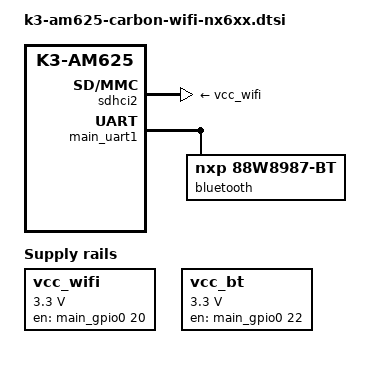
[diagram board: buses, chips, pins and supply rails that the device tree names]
// SPDX-License-Identifier: (GPL-2.0+ OR MIT)
/*
 * Copyright 2024 Ezurio
 */

#include "k3-am625-carbon-wifi.dtsi"

/ {
	vcc_wifi: regulator-wifi {
		compatible = "regulator-fixed";
		regulator-name = "vcc_wifi";
		regulator-min-microvolt = <3300000>;
		regulator-max-microvolt = <3300000>;

		pinctrl-names = "default";
		pinctrl-0 = <&main_wifi_en_default>;
		gpios = <&main_gpio0 20 GPIO_ACTIVE_HIGH>; /* W_DISABLE1# */
		enable-active-high;
		regulator-always-on;
	};

	vcc_bt: regulator-bt {
		compatible = "regulator-fixed";
		regulator-name = "vcc_bt";
		regulator-min-microvolt = <3300000>;
		regulator-max-microvolt = <3300000>;

		pinctrl-names = "default";
		pinctrl-0 = <&main_bt_en_default>;
		gpios = <&main_gpio0 22 GPIO_ACTIVE_HIGH>; /* W_DISABLE2# */
		enable-active-high;
		regulator-always-on;
	};
};

&wifi_pwrseq {
	pinctrl-0 = <&main_wifi_en2_default>;
	reset-gpios = <&main_gpio0 21 GPIO_ACTIVE_LOW>; /* SDIO_RESET# */
};

&sdhci2 { /* SDIO_B  WIFI */
	vmmc-supply = <&vcc_wifi>;
};

&main_uart1 {
	bluetooth {
		compatible = "nxp,88w8987-bt";
		fw-init-baudrate = <3000000>;
	};
};
